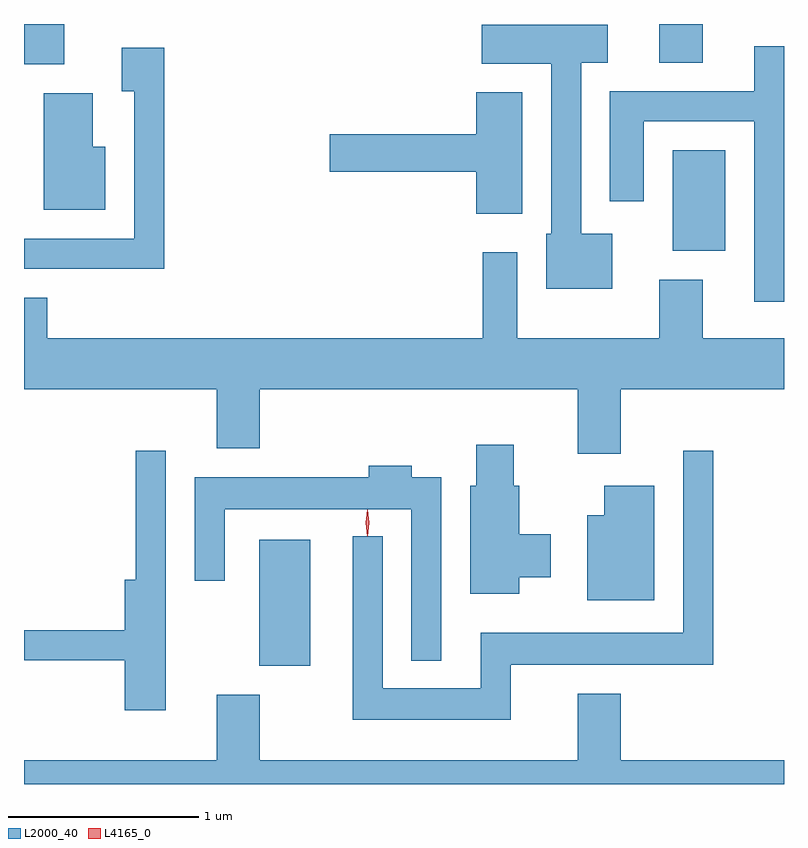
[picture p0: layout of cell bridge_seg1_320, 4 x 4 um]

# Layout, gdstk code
import gdstk
lib = gdstk.Library(unit=1e-6, precision=1e-09)
def R(c, l, rs):  # rectangles x0, y0, x1, y1
    for r in rs: c.add(gdstk.rectangle(r[:2], r[2:], *l))
def P(c, l, *ps):  # polygons
    for p in ps: c.add(gdstk.Polygon(p, *l))
L2000_40 = (2000, 40)
L4165_0 = (4165, 0)

bridge_seg1_320 = lib.new_cell('bridge_seg1_320')
R(bridge_seg1_320, L2000_40, [(922.706,889.241,922.974,889.904), (924.881,891.426,925.159,891.954), (921.467,892.406,921.679,892.619), (924.811,892.416,925.039,892.619)])
P(bridge_seg1_320, L2000_40, [(924.564,891.514),(924.399,891.514),(924.399,892.416),(924.539,892.416),(924.539,892.614),(923.876,892.614),(923.876,892.411),(924.241,892.411),(924.241,891.514),(924.216,891.514),(924.216,891.226),(924.564,891.226)],
  [(925.467,892.503),(925.311,892.503),(925.311,892.264),(924.551,892.264),(924.551,891.686),(924.729,891.686),(924.729,892.106),(925.311,892.106),(925.311,891.158),(925.467,891.158)],
  [(922.204,892.494),(921.981,892.494),(921.981,892.266),(922.046,892.266),(922.046,891.489),(921.467,891.489),(921.467,891.331),(922.204,891.331)],
  [(924.089,892.259),(923.846,892.259),(923.846,892.039),(923.076,892.039),(923.076,891.841),(923.846,891.841),(923.846,891.621),(924.089,891.621)],
  [(921.894,891.974),(921.829,891.974),(921.829,892.254),(921.571,892.254),(921.571,891.641),(921.894,891.641)],
  [(924.811,891.274),(924.811,890.964),(924.064,890.964),(924.064,891.419),(923.881,891.419),(923.881,890.964),(921.589,890.964),(921.589,891.179),(921.467,891.179),(921.467,890.696),(922.481,890.696),(922.481,890.386),(922.709,890.386),(922.709,890.696),(924.381,890.696),(924.381,890.356),(924.609,890.356),(924.609,890.696),(925.467,890.696),(925.467,890.964),(925.039,890.964),(925.039,891.274)],
  [(924.074,889.706),(924.239,889.706),(924.239,889.934),(924.074,889.934),(924.074,890.189),(924.044,890.189),(924.044,890.404),(923.846,890.404),(923.846,890.189),(923.816,890.189),(923.816,889.621),(924.074,889.621)],
  [(922.214,890.373),(922.056,890.373),(922.056,889.694),(921.996,889.694),(921.996,889.429),(921.467,889.429),(921.467,889.271),(921.996,889.271),(921.996,889.006),(922.214,889.006)],
  [(924.029,889.246),(925.094,889.246),(925.094,890.373),(924.936,890.373),(924.936,889.414),(923.871,889.414),(923.871,889.124),(923.354,889.124),(923.354,889.923),(923.196,889.923),(923.196,888.956),(924.029,888.956)],
  [(923.664,890.234),(923.509,890.234),(923.509,890.294),(923.281,890.294),(923.281,890.234),(922.366,890.234),(922.366,889.688),(922.524,889.688),(922.524,890.066),(923.506,890.066),(923.506,889.268),(923.664,889.268)],
  [(924.784,890.189),(924.521,890.189),(924.521,890.034),(924.431,890.034),(924.431,889.586),(924.784,889.586)],
  [(925.467,888.744),(924.609,888.744),(924.609,889.094),(924.381,889.094),(924.381,888.744),(922.709,888.744),(922.709,889.089),(922.481,889.089),(922.481,888.744),(921.467,888.744),(921.467,888.619),(925.467,888.619)])
P(bridge_seg1_320, L4165_0, [(923.274,889.924),(923.265,889.993),(923.274,890.062),(923.275,890.063),(923.275,890.062),(923.285,889.993),(923.275,889.924),(923.275,889.924)],
  [(923.274,889.927),(923.265,889.994),(923.274,890.06),(923.274,890.06),(923.275,890.06),(923.284,889.994),(923.275,889.927),(923.275,889.927)])

lib.write_gds('bridge_seg1_320.gds')
